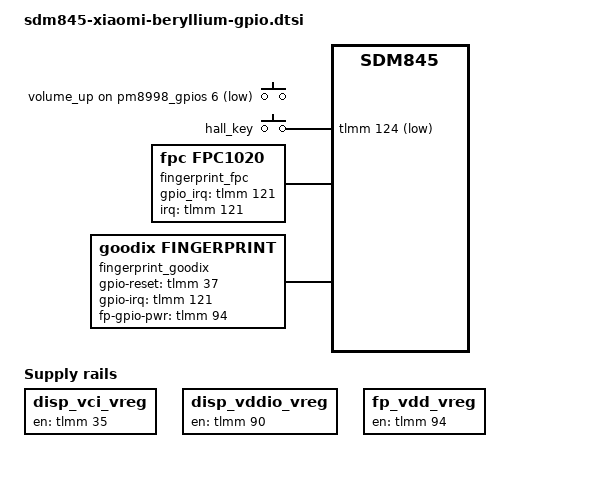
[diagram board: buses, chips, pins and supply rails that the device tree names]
// SPDX-License-Identifier: GPL-2.0
/*
 * Copyright (c) 2019 Raphiel Rollerscaperers <raphielscape@raphielgang.org>
 */

#include <dt-bindings/gpio/gpio.h>

&soc {
	gpio_keys {
		compatible = "gpio-keys";
		label = "gpio-keys";

		pinctrl-names = "default";
		pinctrl-0 = <&key_vol_up_default>;

		vol_up {
			label = "volume_up";
			gpios = <&pm8998_gpios 6 GPIO_ACTIVE_LOW>;
			linux,input-type = <1>;
			linux,code = <115>;
			gpio-key,wakeup;
			debounce-interval = <15>;
			linux,can-disable;
		};
		hall_key {
			label = "hall_key";
			gpios = <&tlmm 124 GPIO_ACTIVE_LOW>;
			linux,input-type = <5>;
			linux,code = <0>;
			gpio-key,wakeup;
			debounce-interval = <15>;
		};
	};

	disp_vci_vreg: disp_vci_vreg {
		compatible = "regulator-fixed";
		regulator-name = "disp_vci_vreg";
		start-delay-us = <4000>;
		enable-active-high;
		regulator-boot-on;
		gpio = <&tlmm 35 0>;
	};

	disp_vddio_vreg: disp_vddio_vreg {
		compatible = "regulator-fixed";
		regulator-name = "disp_vddio_vreg";
		startup-delay-us = <4000>;
		enable-active-high;
		regulator-boot-on;
		gpio = <&tlmm 90 0>;
	 };

	fp_vdd_vreg: fp_vdd_vreg {
		compatible = "regulator-fixed";
		regulator-name = "fp_vdd_vreg";
		startup-delay-us = <4000>;
		enable-active-high;
		gpio = <&tlmm 94 0>;
		regulator-always-on;
	};

	fingerprint_fpc {
		status = "ok";
		compatible = "fpc,fpc1020";
		interrupt-parent = <&tlmm>;
		interrupts = <121 0x0>;
		fpc,gpio_irq    = <&tlmm 121 0x0>;

		pinctrl-names = "fpc1020_reset_reset",
			"fpc1020_reset_active";

		pinctrl-0 = <&msm_gpio_37>;
		pinctrl-1 = <&msm_gpio_37_output_high>;
	};

	fingerprint_goodix {
		compatible = "goodix,fingerprint";
		gooidx,gpio-reset = <&tlmm 37 0x0>;
		goodix,gpio-irq = <&tlmm 121 0x0>;
		fp-gpio-pwr = <&tlmm 94 0>;
		status = "ok";
	};
};
